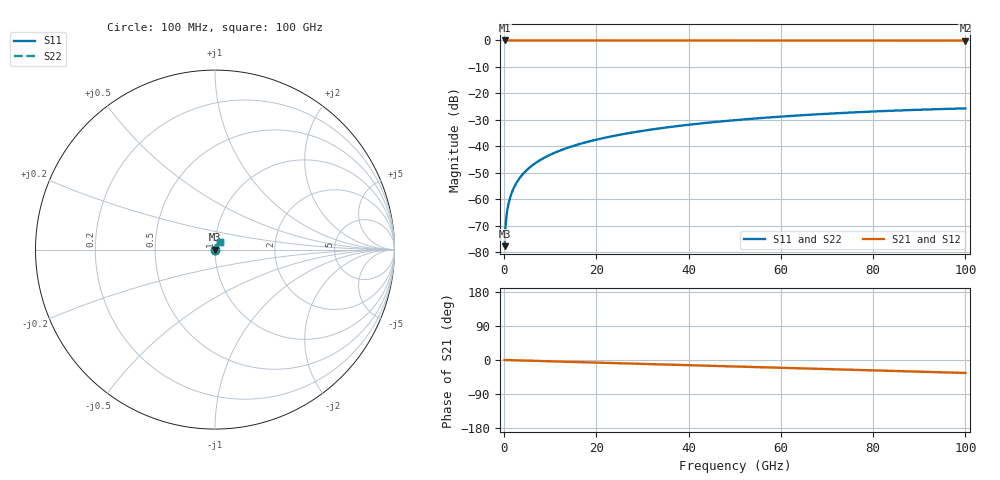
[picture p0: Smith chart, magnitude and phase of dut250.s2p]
! Touchstone file exported from HFSS 2026.1.0
!  File:  C:/ffzhzh/LocalFiles/Ansys_Project_Files/temp_train_TSV_250_1783508305_9504.aedt
!  Generated:  06:59:39 PM Jul  8, 2026
!  Design:  TSV
!  Project:  temp_train_TSV_250_1783508305_9504
! Variables:
!  h_bsmrdl = 2um
!  h_ox = 20um
!  h_rdl = 5um
!  h_sub = 63.52um
!  h_tmrdl = 5um
!  h_tsv = 63.52um
!  h_via = 3um
!  l_bsmrdl = 300um
!  l_sub = 423.82um
!  l_tmrdl = 200um
!  m_sub = 200um
!  pitch = 53.43um
!  r_tsv = 11.91um
!  s_tmrdl = 10um
!  w_bsmrdl = 18um
!  w_sub = 500um
!  w_tmrdl = 12um
!  x_tsv_center1 = 206um
!  x_tsv_center2 = 524um
!  x_tsv_center3 = 736um
!  x_tsv_center4 = 1054um
!  x_tsv_center5 = 1266um
!  x_tsv_center6 = 1584um
# GHz S MA R 50.000000
! Terminal data exported
! Port[1] = TSV1_1_T1
! Port[2] = TSV1_1_T2
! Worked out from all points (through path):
!   1000 points, 100 MHz to 100 GHz, reference 50 ohm
!   highest |S21| = 0.00 dB at 100 MHz (marker M1); lowest = 0.0 dB at 100 GHz (marker M2)
!   group delay of S21, straight-line fit = 949 fs
!   lowest |S11| = -77.8 dB at 100 MHz (marker M3), VSWR 1.00, Z = 50 + j0.01 ohm
!   |S11| at or under -10 dB: start of sweep to end of sweep
!   |S22| runs from -77.8 to -25.7 dB; largest |S21 - S12| = 4.6e-15
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0.1  0.0001295 50.6  0.9999 -0.0  0.9999 -0.0  0.0001295 50.6
! Gamma 0 0 0 0
! Port Impedance 50 0 50 0
0.3  0.000308 69.4  0.9999 -0.1  0.9999 -0.1  0.000308 69.4
0.7  0.000634 74.0  0.9998 -0.2  0.9998 -0.2  0.000634 74.0
0.8  0.000709 74.6  0.9998 -0.3  0.9998 -0.3  0.000709 74.6
1  0.0008558 75.6  0.9998 -0.4  0.9998 -0.4  0.0008558 75.6
1.3  0.001072 76.9  0.9998 -0.5  0.9998 -0.5  0.001072 76.9
1.8  0.001428 78.3  0.9997 -0.6  0.9997 -0.6  0.001428 78.3
2.4  0.00185 79.3  0.9997 -0.8  0.9997 -0.8  0.00185 79.3
3.1  0.002334 80.0  0.9996 -1.1  0.9996 -1.1  0.002334 80.0
3.9  0.002879 80.5  0.9996 -1.3  0.9996 -1.3  0.002879 80.5
4.9  0.003553 80.9  0.9995 -1.7  0.9995 -1.7  0.003553 80.9
6.1  0.004354 81.2  0.9995 -2.1  0.9995 -2.1  0.004354 81.2
8.9  0.006205 81.3  0.9994 -3.1  0.9994 -3.1  0.006205 81.3
12.4  0.008489 80.8  0.9992 -4.3  0.9992 -4.3  0.008489 80.8
16.8  0.01132 79.9  0.9991 -5.8  0.9991 -5.8  0.01132 79.9
24.2  0.01599 78.1  0.9988 -8.3  0.9988 -8.3  0.01599 78.1
33.4  0.02162 75.4  0.9986 -11.4  0.9986 -11.4  0.02162 75.4
41.2  0.02621 73.0  0.9983 -14.1  0.9983 -14.1  0.02621 73.1
50.1  0.0312 70.2  0.998 -17.1  0.998 -17.1  0.0312 70.3
66.7  0.03965 64.9  0.9975 -22.8  0.9975 -22.8  0.03965 64.9
83.4  0.04675 59.4  0.9969 -28.5  0.9969 -28.5  0.04675 59.4
100  0.05198 53.9  0.9963 -34.2  0.9963 -34.2  0.05198 53.9
